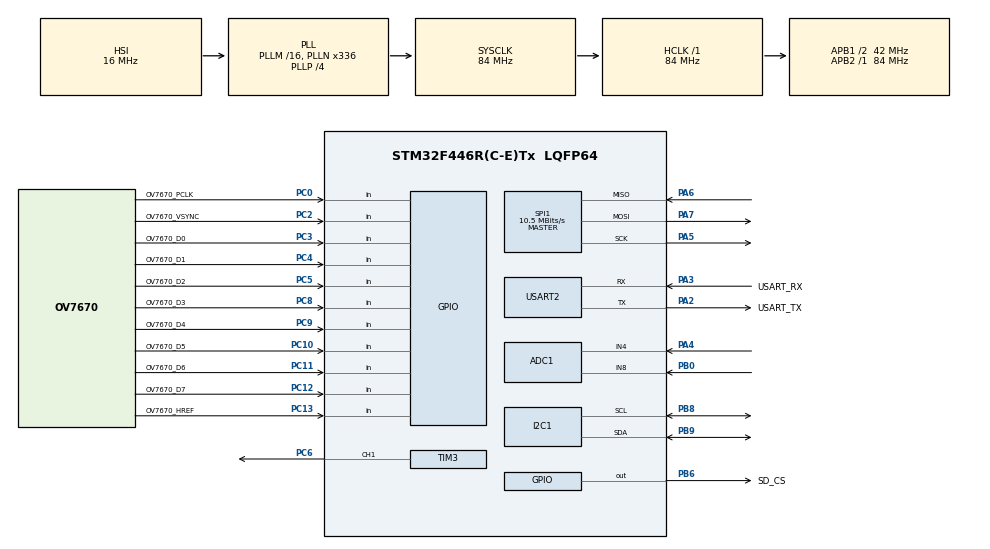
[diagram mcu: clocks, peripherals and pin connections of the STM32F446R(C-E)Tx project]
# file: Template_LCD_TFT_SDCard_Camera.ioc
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ADC1.Channel-0\#ChannelRegularConversion=ADC_CHANNEL_4
ADC1.NbrOfConversionFlag=1
ADC1.Rank-0\#ChannelRegularConversion=1
ADC1.SamplingTime-0\#ChannelRegularConversion=ADC_SAMPLETIME_3CYCLES
ADC1.master=1
FATFS._MAX_SS=4096
FATFS._USE_LFN=1
I2C1.I2C_Mode=I2C_Fast
Mcu.Family=STM32F4
Mcu.Name=STM32F446R(C-E)Tx
Mcu.Package=LQFP64
NVIC.PriorityGroup=NVIC_PRIORITYGROUP_0
PA13.GPIO_Label=TMS
PA13.Mode=Serial_Wire
PA13.Signal=SYS_JTMS-SWDIO
PA14.GPIO_Label=TCK
PA14.Mode=Serial_Wire
PA14.Signal=SYS_JTCK-SWCLK
PA2.GPIO_Label=USART_TX
PA2.Mode=Asynchronous
PA2.Signal=USART2_TX
PA3.GPIO_Label=USART_RX
PA3.Mode=Asynchronous
PA3.Signal=USART2_RX
PA4.Signal=ADCx_IN4
PA5.Mode=Full_Duplex_Master
PA5.Signal=SPI1_SCK
PA6.Mode=Full_Duplex_Master
PA6.Signal=SPI1_MISO
PA7.Mode=Full_Duplex_Master
PA7.Signal=SPI1_MOSI
PB0.Signal=ADCx_IN8
PB3.GPIO_Label=SWO
PB3.Signal=SYS_JTDO-SWO
PB6.GPIO_Label=SD_CS
PB6.GPIO_Speed=GPIO_SPEED_FREQ_MEDIUM
PB6.PinState=GPIO_PIN_SET
PB6.Signal=GPIO_Output
PB8.GPIO_Pu=GPIO_PULLUP
PB8.Mode=I2C
PB8.Signal=I2C1_SCL
PB9.GPIO_Pu=GPIO_PULLUP
PB9.Mode=I2C
PB9.Signal=I2C1_SDA
PC0.GPIO_Label=OV7670_PCLK 
PC0.Signal=GPIO_Input
PC10.GPIO_Label=OV7670_D5 
PC10.Signal=GPIO_Input
PC11.GPIO_Label=OV7670_D6 
PC11.Signal=GPIO_Input
PC12.GPIO_Label=OV7670_D7
PC12.Signal=GPIO_Input
PC13.GPIO_Label=OV7670_HREF
PC13.Signal=GPIO_Input
PC14-OSC32_IN.Mode=LSE-External-Oscillator
PC14-OSC32_IN.Signal=RCC_OSC32_IN
PC15-OSC32_OUT.Mode=LSE-External-Oscillator
PC15-OSC32_OUT.Signal=RCC_OSC32_OUT
PC2.GPIO_Label=OV7670_VSYNC
PC2.Signal=GPIO_Input
PC3.GPIO_Label=OV7670_D0 
PC3.Signal=GPIO_Input
PC4.GPIO_Label=OV7670_D1
PC4.Signal=GPIO_Input
PC5.GPIO_Label=OV7670_D2
PC5.Signal=GPIO_Input
PC6.Signal=S_TIM3_CH1
PC8.GPIO_Label=OV7670_D3
PC8.Signal=GPIO_Input
PC9.GPIO_Label=OV7670_D4
PC9.Signal=GPIO_Input
PH0-OSC_IN.Mode=HSE-External-Oscillator
PH0-OSC_IN.Signal=RCC_OSC_IN
PH1-OSC_OUT.Mode=HSE-External-Oscillator
PH1-OSC_OUT.Signal=RCC_OSC_OUT
ProjectManager.HeapSize=0x200
ProjectManager.StackSize=0x400
ProjectManager.TargetToolchain=STM32CubeIDE
RCC.48MHZClocksFreq_Value=84000000
RCC.AHBFreq_Value=84000000
RCC.APB1CLKDivider=RCC_HCLK_DIV2
RCC.APB1Freq_Value=42000000
RCC.APB1TimFreq_Value=84000000
RCC.APB2Freq_Value=84000000
RCC.APB2TimFreq_Value=84000000
RCC.CortexFreq_Value=84000000
RCC.FLatency-AdvancedSettings=FLASH_LATENCY_2
RCC.HCLKFreq_Value=84000000
RCC.HSE_VALUE=8000000
RCC.HSI_VALUE=16000000
RCC.PLLN=336
RCC.PLLP=RCC_PLLP_DIV4
RCC.SYSCLKFreq_VALUE=84000000
RCC.SYSCLKSource=RCC_SYSCLKSOURCE_PLLCLK
RCC.USBFreq_Value=168000000
RCC.VCOOutputFreq_Value=336000000
SH.ADCx_IN4.0=ADC1_IN4,IN4
SH.ADCx_IN8.0=ADC1_IN8,IN8
SH.S_TIM3_CH1.0=TIM3_CH1,PWM Generation1 CH1
SPI1.BaudRatePrescaler=SPI_BAUDRATEPRESCALER_8
SPI1.CalculateBaudRate=10.5 MBits/s
SPI1.Direction=SPI_DIRECTION_2LINES
SPI1.Mode=SPI_MODE_MASTER
SPI1.VirtualType=VM_MASTER
TIM1.AutoReloadPreload=TIM_AUTORELOAD_PRELOAD_ENABLE
TIM1.Prescaler=84-1
TIM3.Channel-PWM\ Generation1\ CH1=TIM_CHANNEL_1
TIM3.Period=7
USART2.VirtualMode=VM_ASYNC
VP_FATFS_VS_Generic.Mode=User_defined
VP_TIM1_VS_ClockSourceINT.Mode=Internal
VP_TIM3_VS_ClockSourceINT.Mode=Internal
board=NUCLEO-F446RE

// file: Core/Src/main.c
/* USER CODE BEGIN Header */
/**
  ******************************************************************************
  * @file           : main.c
  * @brief          : Main program body
  ******************************************************************************
  * @attention
  *
  * Copyright (c) 2023 STMicroelectronics.
  * All rights reserved.
  *
  * This software is licensed under terms that can be found in the LICENSE file
  * in the root directory of this software component.
  * If no LICENSE file comes with this software, it is provided AS-IS.
  *
  ******************************************************************************
  */
/* USER CODE END Header */
#include "main.h"
#include "fatfs.h"

/* USER CODE BEGIN Includes */
//Bibliotecas para uso do display TFT
#include "fonts.h"
#include "tft.h"
#include "user_setting.h"
//Biblioteca para uso do touch screen no display TFT
#include "stdio.h"
#include "touch_screen.h"
//Bilblioteca de ajuste de funções para o SD Card (criada por terceiro)
#include "fatfs_sd.h"
#include "string.h"
/* USER CODE END Includes */
#include "Camera_OV7670.h"

/* USER CODE BEGIN PD */
//#define RGB  		//Definido em Camera_OV7670.h
//#define W320H240	//Definido em Camera_OV7670.h
#ifdef W320H240
	#define W 320
	#define H 240
#else
	#define W 160
	#define H 120
#endif
/* USER CODE END PD */

ADC_HandleTypeDef hadc1;

I2C_HandleTypeDef hi2c1;

SPI_HandleTypeDef hspi1;

TIM_HandleTypeDef htim1;
TIM_HandleTypeDef htim3;

UART_HandleTypeDef huart2;

/* USER CODE BEGIN PV */
uint16_t ID=0;
//extern const unsigned short bart_x225_y225[50625];
//extern const unsigned short coringa_200x136[27200];
extern const unsigned short monalisa_184x274[50416];

FATFS fs0, fs1;		/* Work area (filesystem object) for logical drives */
FIL fsrc, fdst;		/* File objects */
BYTE buffer[4096];  /* File copy buffer */
FRESULT fr;			/* FatFs function common result code */
UINT br, bw;		/* File read/write count */
uint32_t first;
/* USER CODE END PV */

void SystemClock_Config(void);
static void MX_GPIO_Init(void);
static void MX_USART2_UART_Init(void);
static void MX_TIM1_Init(void);
static void MX_ADC1_Init(void);
static void MX_SPI1_Init(void);
static void MX_I2C1_Init(void);
static void MX_TIM3_Init(void);
/* USER CODE BEGIN PFP */
void LCD_TxBMP(unsigned char* data, unsigned int BitmapStart);
/* USER CODE END PFP */

int main(void)
{

  /* USER CODE BEGIN 1 */
//  //Touch screen
//  uint32_t x,y,z;
//  uint32_t x_min = 1023, x_max = 0;
//  uint32_t y_min = 1023, y_max = 0;
//  uint32_t z_min = 1023, z_max = 0;
//  uint32_t size;
//  char mensagem[50];
  //SD Card
  int32_t i;
  /* USER CODE END 1 */

  /* MCU Configuration--------------------------------------------------------*/

  /* Reset of all peripherals, Initializes the Flash interface and the Systick. */
  HAL_Init();

  /* Configure the system clock */
  SystemClock_Config();

  /* Initialize all configured peripherals */
  MX_GPIO_Init();
  MX_USART2_UART_Init();
  MX_TIM1_Init();
  MX_ADC1_Init();
  MX_SPI1_Init();
  //MX_FATFS_Init();
  MX_I2C1_Init();
  MX_TIM3_Init();
  /* USER CODE BEGIN 2 */
  //Sequência de inicialização do LCD
  tft_gpio_init(); 				//Inicializa os GPIOs do LCD (evita uso do CubeMX)
  HAL_TIM_Base_Start(&htim1); 	//Inicializa o Timer1 (base de tempo de us do LCD)
  ID = tft_readID(); 			//Lê o ID do LCD (poderia ser chamada pela inicialização do LCD)
  HAL_Delay(100);
  tft_init (ID); 				//Inicializa o LCD de acordo com seu ID
  tft_setRotation(3); 			//Ajusta a orientação da tela
  tft_fillScreen(BLACK); 		//Preenche a tela em uma só cor

  //Mensagem inicial
  HAL_UART_Transmit(&huart2, (uint8_t *)"Este programa recebe os pixels de uma camera OV7670 conectada\r\n", 66, 100);
  HAL_UART_Transmit(&huart2, (uint8_t *)"nos GPIOs e envia para display LCD TFT                       \r\n", 66, 100);

  //Plota molduras no LCD
  for(i=0; i<8; i++)
  {	  //	       x     y	   w	   		   h	           color
	  tft_drawRect(i*20, i*15, 320-(2*(i*20)), 240-(2*(i*15)), WHITE);
	  HAL_Delay(100);
  }

  //Liga o PWM
  HAL_TIM_PWM_Start(&htim3, TIM_CHANNEL_1);
  htim3.Instance->CCR1 = 4;		//Define o duty_cycle em aprox. 50%

  //Configura a câmera OV7670
  cam_setup(&hi2c1, &huart2);
  /* USER CODE END 2 */

  /* Infinite loop */
  while (1)
  {

    /* USER CODE BEGIN 3 */
	if(W==320)
	  tft_setAddrWindow(0, 0, W, H);
	else
	  tft_setAddrWindow(80, 60, W+80-1, H+60-1);
	tft_inicioDados() ;
	cam_loop();
	tft_fimDados();
  }
  /* USER CODE END 3 */
}

void SystemClock_Config(void)
{
  RCC_OscInitTypeDef RCC_OscInitStruct = {0};
  RCC_ClkInitTypeDef RCC_ClkInitStruct = {0};

  /** Configure the main internal regulator output voltage
  */
  __HAL_RCC_PWR_CLK_ENABLE();
  __HAL_PWR_VOLTAGESCALING_CONFIG(PWR_REGULATOR_VOLTAGE_SCALE3);

  /** Initializes the RCC Oscillators according to the specified parameters
  * in the RCC_OscInitTypeDef structure.
  */
  RCC_OscInitStruct.OscillatorType = RCC_OSCILLATORTYPE_HSI;
  RCC_OscInitStruct.HSIState = RCC_HSI_ON;
  RCC_OscInitStruct.HSICalibrationValue = RCC_HSICALIBRATION_DEFAULT;
  RCC_OscInitStruct.PLL.PLLState = RCC_PLL_ON;
  RCC_OscInitStruct.PLL.PLLSource = RCC_PLLSOURCE_HSI;
  RCC_OscInitStruct.PLL.PLLM = 16;
  RCC_OscInitStruct.PLL.PLLN = 336;
  RCC_OscInitStruct.PLL.PLLP = RCC_PLLP_DIV4;
  RCC_OscInitStruct.PLL.PLLQ = 2;
  RCC_OscInitStruct.PLL.PLLR = 2;
  if (HAL_RCC_OscConfig(&RCC_OscInitStruct) != HAL_OK)
  {
    Error_Handler();
  }

  /** Initializes the CPU, AHB and APB buses clocks
  */
  RCC_ClkInitStruct.ClockType = RCC_CLOCKTYPE_HCLK|RCC_CLOCKTYPE_SYSCLK
                              |RCC_CLOCKTYPE_PCLK1|RCC_CLOCKTYPE_PCLK2;
  RCC_ClkInitStruct.SYSCLKSource = RCC_SYSCLKSOURCE_PLLCLK;
  RCC_ClkInitStruct.AHBCLKDivider = RCC_SYSCLK_DIV1;
  RCC_ClkInitStruct.APB1CLKDivider = RCC_HCLK_DIV2;
  RCC_ClkInitStruct.APB2CLKDivider = RCC_HCLK_DIV1;

  if (HAL_RCC_ClockConfig(&RCC_ClkInitStruct, FLASH_LATENCY_2) != HAL_OK)
  {
    Error_Handler();
  }
}

static void MX_ADC1_Init(void)
{

  ADC_ChannelConfTypeDef sConfig = {0};

  /** Configure the global features of the ADC (Clock, Resolution, Data Alignment and number of conversion)
  */
  hadc1.Instance = ADC1;
  hadc1.Init.ClockPrescaler = ADC_CLOCK_SYNC_PCLK_DIV4;
  hadc1.Init.Resolution = ADC_RESOLUTION_12B;
  hadc1.Init.ScanConvMode = DISABLE;
  hadc1.Init.ContinuousConvMode = DISABLE;
  hadc1.Init.DiscontinuousConvMode = DISABLE;
  hadc1.Init.ExternalTrigConvEdge = ADC_EXTERNALTRIGCONVEDGE_NONE;
  hadc1.Init.ExternalTrigConv = ADC_SOFTWARE_START;
  hadc1.Init.DataAlign = ADC_DATAALIGN_RIGHT;
  hadc1.Init.NbrOfConversion = 1;
  hadc1.Init.DMAContinuousRequests = DISABLE;
  hadc1.Init.EOCSelection = ADC_EOC_SINGLE_CONV;
  if (HAL_ADC_Init(&hadc1) != HAL_OK)
  {
    Error_Handler();
  }

  /** Configure for the selected ADC regular channel its corresponding rank in the sequencer and its sample time.
  */
  sConfig.Channel = ADC_CHANNEL_4;
  sConfig.Rank = 1;
  sConfig.SamplingTime = ADC_SAMPLETIME_3CYCLES;
  if (HAL_ADC_ConfigChannel(&hadc1, &sConfig) != HAL_OK)
  {
    Error_Handler();
  }

}

static void MX_I2C1_Init(void)
{

  hi2c1.Instance = I2C1;
  hi2c1.Init.ClockSpeed = 400000;
  hi2c1.Init.DutyCycle = I2C_DUTYCYCLE_2;
  hi2c1.Init.OwnAddress1 = 0;
  hi2c1.Init.AddressingMode = I2C_ADDRESSINGMODE_7BIT;
  hi2c1.Init.DualAddressMode = I2C_DUALADDRESS_DISABLE;
  hi2c1.Init.OwnAddress2 = 0;
  hi2c1.Init.GeneralCallMode = I2C_GENERALCALL_DISABLE;
  hi2c1.Init.NoStretchMode = I2C_NOSTRETCH_DISABLE;
  if (HAL_I2C_Init(&hi2c1) != HAL_OK)
  {
    Error_Handler();
  }

}

static void MX_SPI1_Init(void)
{

  /* SPI1 parameter configuration*/
  hspi1.Instance = SPI1;
  hspi1.Init.Mode = SPI_MODE_MASTER;
  hspi1.Init.Direction = SPI_DIRECTION_2LINES;
  hspi1.Init.DataSize = SPI_DATASIZE_8BIT;
  hspi1.Init.CLKPolarity = SPI_POLARITY_LOW;
  hspi1.Init.CLKPhase = SPI_PHASE_1EDGE;
  hspi1.Init.NSS = SPI_NSS_SOFT;
  hspi1.Init.BaudRatePrescaler = SPI_BAUDRATEPRESCALER_8;
  hspi1.Init.FirstBit = SPI_FIRSTBIT_MSB;
  hspi1.Init.TIMode = SPI_TIMODE_DISABLE;
  hspi1.Init.CRCCalculation = SPI_CRCCALCULATION_DISABLE;
  hspi1.Init.CRCPolynomial = 10;
  if (HAL_SPI_Init(&hspi1) != HAL_OK)
  {
    Error_Handler();
  }

}

static void MX_TIM1_Init(void)
{

  TIM_ClockConfigTypeDef sClockSourceConfig = {0};
  TIM_MasterConfigTypeDef sMasterConfig = {0};

  htim1.Instance = TIM1;
  htim1.Init.Prescaler = 84-1;
  htim1.Init.CounterMode = TIM_COUNTERMODE_UP;
  htim1.Init.Period = 65535;
  htim1.Init.ClockDivision = TIM_CLOCKDIVISION_DIV1;
  htim1.Init.RepetitionCounter = 0;
  htim1.Init.AutoReloadPreload = TIM_AUTORELOAD_PRELOAD_ENABLE;
  if (HAL_TIM_Base_Init(&htim1) != HAL_OK)
  {
    Error_Handler();
  }
  sClockSourceConfig.ClockSource = TIM_CLOCKSOURCE_INTERNAL;
  if (HAL_TIM_ConfigClockSource(&htim1, &sClockSourceConfig) != HAL_OK)
  {
    Error_Handler();
  }
  sMasterConfig.MasterOutputTrigger = TIM_TRGO_RESET;
  sMasterConfig.MasterSlaveMode = TIM_MASTERSLAVEMODE_DISABLE;
  if (HAL_TIMEx_MasterConfigSynchronization(&htim1, &sMasterConfig) != HAL_OK)
  {
    Error_Handler();
  }

}

static void MX_TIM3_Init(void)
{

  TIM_ClockConfigTypeDef sClockSourceConfig = {0};
  TIM_MasterConfigTypeDef sMasterConfig = {0};
  TIM_OC_InitTypeDef sConfigOC = {0};

  htim3.Instance = TIM3;
  htim3.Init.Prescaler = 0;
  htim3.Init.CounterMode = TIM_COUNTERMODE_UP;
  htim3.Init.Period = 7;
  htim3.Init.ClockDivision = TIM_CLOCKDIVISION_DIV1;
  htim3.Init.AutoReloadPreload = TIM_AUTORELOAD_PRELOAD_DISABLE;
  if (HAL_TIM_Base_Init(&htim3) != HAL_OK)
  {
    Error_Handler();
  }
  sClockSourceConfig.ClockSource = TIM_CLOCKSOURCE_INTERNAL;
  if (HAL_TIM_ConfigClockSource(&htim3, &sClockSourceConfig) != HAL_OK)
  {
    Error_Handler();
  }
  if (HAL_TIM_PWM_Init(&htim3) != HAL_OK)
  {
    Error_Handler();
  }
  sMasterConfig.MasterOutputTrigger = TIM_TRGO_RESET;
  sMasterConfig.MasterSlaveMode = TIM_MASTERSLAVEMODE_DISABLE;
  if (HAL_TIMEx_MasterConfigSynchronization(&htim3, &sMasterConfig) != HAL_OK)
  {
    Error_Handler();
  }
  sConfigOC.OCMode = TIM_OCMODE_PWM1;
  sConfigOC.Pulse = 0;
  sConfigOC.OCPolarity = TIM_OCPOLARITY_HIGH;
  sConfigOC.OCFastMode = TIM_OCFAST_DISABLE;
  if (HAL_TIM_PWM_ConfigChannel(&htim3, &sConfigOC, TIM_CHANNEL_1) != HAL_OK)
  {
    Error_Handler();
  }
  HAL_TIM_MspPostInit(&htim3);

}

static void MX_USART2_UART_Init(void)
{

  huart2.Instance = USART2;
  huart2.Init.BaudRate = 1000000;//115200;
  huart2.Init.WordLength = UART_WORDLENGTH_8B;
  huart2.Init.StopBits = UART_STOPBITS_1;
  huart2.Init.Parity = UART_PARITY_NONE;
  huart2.Init.Mode = UART_MODE_TX_RX;
  huart2.Init.HwFlowCtl = UART_HWCONTROL_NONE;
  huart2.Init.OverSampling = UART_OVERSAMPLING_16;
  if (HAL_UART_Init(&huart2) != HAL_OK)
  {
    Error_Handler();
  }

}

static void MX_GPIO_Init(void)
{
  GPIO_InitTypeDef GPIO_InitStruct = {0};

  /* GPIO Ports Clock Enable */
  __HAL_RCC_GPIOC_CLK_ENABLE();
  __HAL_RCC_GPIOH_CLK_ENABLE();
  __HAL_RCC_GPIOA_CLK_ENABLE();
  __HAL_RCC_GPIOB_CLK_ENABLE();

  /*Configure GPIO pin Output Level */
  HAL_GPIO_WritePin(SD_CS_GPIO_Port, SD_CS_Pin, GPIO_PIN_SET);

  /*Configure GPIO pins : OV7670_HREF_Pin OV7670_PCLK_Pin OV7670_VSYNC_Pin OV7670_D0_Pin
                           OV7670_D1_Pin OV7670_D2_Pin OV7670_D3_Pin OV7670_D4_Pin
                           OV7670_D5_Pin OV7670_D6_Pin OV7670_D7_Pin */
  GPIO_InitStruct.Pin = OV7670_HREF_Pin|OV7670_PCLK_Pin|OV7670_VSYNC_Pin|OV7670_D0_Pin
                          |OV7670_D1_Pin|OV7670_D2_Pin|OV7670_D3_Pin|OV7670_D4_Pin
                          |OV7670_D5_Pin|OV7670_D6_Pin|OV7670_D7_Pin;
  GPIO_InitStruct.Mode = GPIO_MODE_INPUT;
  GPIO_InitStruct.Pull = GPIO_NOPULL;
  HAL_GPIO_Init(GPIOC, &GPIO_InitStruct);

  /*Configure GPIO pin : SD_CS_Pin */
  GPIO_InitStruct.Pin = SD_CS_Pin;
  GPIO_InitStruct.Mode = GPIO_MODE_OUTPUT_PP;
  GPIO_InitStruct.Pull = GPIO_NOPULL;
  GPIO_InitStruct.Speed = GPIO_SPEED_FREQ_MEDIUM;
  HAL_GPIO_Init(SD_CS_GPIO_Port, &GPIO_InitStruct);

}

/* USER CODE BEGIN 4 */
//Envia uma string como um bitmp para o LCD TFT
//Recebe: String com 512 bytes (1 setor de arquivo) que fazem parte da imagem
//				Flag que sinaliza se é o primeiro setor (onde está o cabeçalho)
void LCD_TxBMP(unsigned char* data, unsigned int BitmapStart)
{
	static unsigned int tamanho = 0;
	static unsigned char sobrou[3] = {0,0,0};
	unsigned int i = 0;
	unsigned int setor = 512;
	unsigned short int cor;
	unsigned char tam[11];
	//Leandro (22/09/2020) - Ajuste para ler imagens com dimensões maiores que um byte (320x240)
	//	unsigned char altura, x = 0, y = 127, bits_por_pixel;
	unsigned char bits_por_pixel;
	//unsigned int altura, x = 0, y = 239;	//Formato "paisagem"
	unsigned int altura, x = 0, y = 319;	//Formato "retrato"
	//const unsigned int lim_altura = 240, lim_largura = 320;	//Formato "paisagem" - enviar comando setRotation(1);
	const unsigned int lim_altura = 320, lim_largura = 240;	//Formato "retrato"	- enviar comando setRotation(0);
	//	static unsigned char largura = 0, erro_bits = 0, bytes_extras = 0, pixels_por_linha = 0;
	static unsigned int largura = 0, pixels_por_linha = 0;
	static unsigned char erro_bits = 0, bytes_extras = 0;

	//Se é o primeiro setor do arquivo, possui o cabeçalho
	if(BitmapStart)
	{
		BitmapStart = 0;

		//Reseta variável estática
		pixels_por_linha = 0;

		//Pula o cabeçalho
		i = 54;
		//Lê o tamanho da área de dados do arquivo em bytes
		tamanho = data[0x22] + (unsigned int)(data[0x23]<<8) + (unsigned int)(data[0x24]<<16) + (unsigned int)(data[0x25]<<24);
		//Leandro (22/09/2020) - Ajuste para ler imagens com dimensões maiores que um byte (320x240)
		//		//Leandro (01/09/2019) - Lê a largura e a altura da imagem para definir o tamanho da janela
		//		largura = data[18];
		//		altura = data[22];
		largura = data[18] + (unsigned int)(data[19]<<8);
		altura = data[22] + (unsigned int)(data[23]<<8);
		//Configura a janela
		tft_setAddrWindow(x, y-altura+1, x+largura-1, y);
		//Envia para o LCD sinalização de início de envio de dados
		tft_inicioDados();
		//Verifica se existirão bytes extras no arquivo em função da largura da imagem
		//Obervação: Existe uma restrição de que cada linha deva ter N bytes, sendo N um número
		//divisível por 4. Caso contrário, o BMP deve ser preenchido com bytes não válidos. Por
		//exemplo, se a imagem tem 1 x 100 pixels em 24 bits/pixel, o BMP teria 3 bytes válidos em
		//cada linha e mais 1 byte que não tem qualquer significado.
		switch((largura*3)%4)
		{
		case 1: bytes_extras = 3; break;
		case 2: bytes_extras = 2; break;
		case 3: bytes_extras = 1; break;
		default: bytes_extras = 0; break;
		}

		//Lê a quantidade de bits por pixel (neste caso é aceito apenas 24 bits por pixel)
		bits_por_pixel = data[28];
		//Testa a quatidade de bits
		//Leandro (22/09/2020) - Ajuste para ler imagens com dimensões maiores que um byte (320x240)
		//		if((bits_por_pixel != 24) || (largura > 128) || (altura > 128))
		if((bits_por_pixel != 24) || (largura > lim_largura) || (altura > lim_altura))
			erro_bits = 1;
		else
			erro_bits = 0;
	}

	//Se houver erro na quantidade de bits retorna e não envia para o LCD
	if(erro_bits)
	{
		return;
	}

	//Envia os pixels enquanto não acabar o setor ou o Bitmap
	while((i <= (512-3)) && (tamanho >= 3))	//24 bits por pixels
	{
		//Se completou uma linha
		if(pixels_por_linha == largura)
		{
			//Zera o contador
			pixels_por_linha = 0;
			//Verifica se tem bytes nulos para ignorar
			if(bytes_extras >= sobrou[0])
			{
				//Desconta os bytes_extras-sobrou[0] do tamanho do setor
				tamanho -= (bytes_extras-sobrou[0]);
				//Incrementa a posição do byte a ser lido do setor
				i += (bytes_extras-sobrou[0]);
				//Atualiza o valor da sobra
				sobrou[0] = 0;
				//Verifica se não cabe mais nenhum pixel, encerra o loop
				if((i>(512-3)) || (tamanho < 3))
					break;
			}
			else
			{
				//Atualiza o valor da sobra
				sobrou[0] -= bytes_extras;
			}
			//break;
			if(tamanho<3)
				break;
		}

		if(sobrou[0] == 0)			//Tamanho -= 3
		{
			//((r & 0xF8) << 8) | ((g & 0xFC) << 3) | (b >> 3);
			//Seguencia BGR (24 bits) --> RGB (565)
			cor = (data[i] >> 3) | ((data[i+1] & 0xFC) << 3) | ((data[i+2] & 0xF8) << 8);
			i += 3;
			tamanho -= 3;
		}
		else if(sobrou[0] == 1)	//Tamanho -= 2
		{
			//Sobrou a cor Azul
			cor = (sobrou[2] >> 3) | ((data[i] & 0xFC) << 3) | ((data[i+1] & 0xF8) << 8);
			i += 2;
			tamanho -= 2;
		}
		else if(sobrou[0] == 2)	//Tamanho -= 1
		{
			//Sobrou a cor Azul e Verde
			cor = (sobrou[1] >> 3) | ((sobrou[2] & 0xFC) << 3) | ((data[i] & 0xF8) << 8);
			i += 1;
			tamanho -= 1;
		}
		else
		{
			i = 512;
			setor = 0;
			tamanho = 0;
			break;
		}
		//Envia pixel 565 para o LCD
		tft_desenhaPixel(cor);

		sobrou[0] = 0;	//Sobra algum byte apenas no final do setor (i>= 510)

		//Incrementa o número de pixels enviados por linha e testa
		pixels_por_linha++;
	}
	//Se ainda não acabou o arquivo
	if(tamanho >= 3)
	{
		//Salva o número de bytes que sobraram para formar um pixel
		sobrou[0] = 512 - i;
		//Completa os 512 bytes do setor
		tamanho -= sobrou[0];
		//Salva o penúltimo byte
		sobrou[1] = data[510];
		//Salva o último byte
		sobrou[2] = data[511];
	}
	else
	{
		//Envia para o LCD sinalização de fim de envio de dados
		tft_fimDados();
	}
}
/* USER CODE END 4 */

void Error_Handler(void)
{
  __disable_irq();
  while (1)
  {
  }
}
